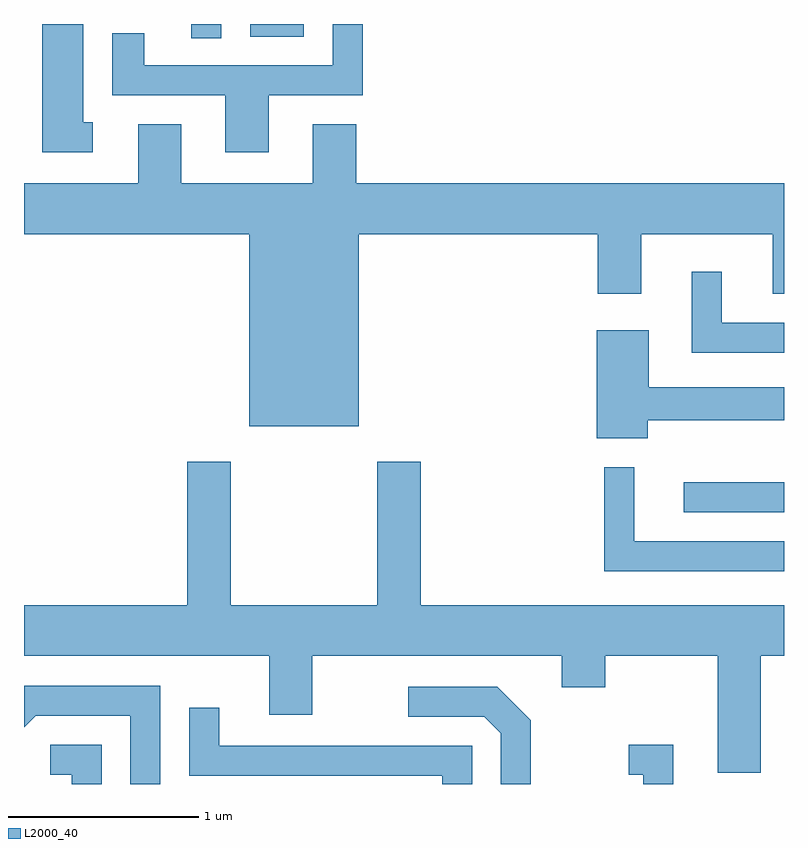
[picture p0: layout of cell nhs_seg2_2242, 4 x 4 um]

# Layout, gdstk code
import gdstk
lib = gdstk.Library(unit=1e-6, precision=1e-09)
def R(c, l, rs):  # rectangles x0, y0, x1, y1
    for r in rs: c.add(gdstk.rectangle(r[:2], r[2:], *l))
def P(c, l, *ps):  # polygons
    for p in ps: c.add(gdstk.Polygon(p, *l))
L2000_40 = (2000, 40)

nhs_seg2_2242 = lib.new_cell('nhs_seg2_2242')
R(nhs_seg2_2242, L2000_40, [(253.083,1111.231,253.611,1111.389), (250.491,1113.728,250.649,1113.802), (250.801,1113.736,251.084,1113.802)])
P(nhs_seg2_2242, L2000_40, [(250.899,1113.426),(251.394,1113.426),(251.394,1113.802),(251.236,1113.802),(251.236,1113.584),(250.244,1113.584),(250.244,1113.753),(250.076,1113.753),(250.076,1113.426),(250.671,1113.426),(250.671,1113.126),(250.899,1113.126)],
  [(249.973,1113.284),(249.924,1113.284),(249.924,1113.802),(249.706,1113.802),(249.706,1113.126),(249.973,1113.126)],
  [(251.374,1112.696),(252.631,1112.696),(252.631,1112.381),(252.859,1112.381),(252.859,1112.696),(253.551,1112.696),(253.551,1112.381),(253.611,1112.381),(253.611,1112.964),(251.359,1112.964),(251.359,1113.274),(251.131,1113.274),(251.131,1112.964),(250.439,1112.964),(250.439,1113.274),(250.211,1113.274),(250.211,1112.964),(249.611,1112.964),(249.611,1112.696),(250.796,1112.696),(250.796,1111.686),(251.374,1111.686)],
  [(253.611,1112.229),(253.284,1112.229),(253.284,1112.498),(253.126,1112.498),(253.126,1112.071),(253.611,1112.071)],
  [(252.894,1111.716),(253.611,1111.716),(253.611,1111.889),(252.899,1111.889),(252.899,1112.189),(252.626,1112.189),(252.626,1111.621),(252.894,1111.621)],
  [(253.611,1111.079),(252.824,1111.079),(252.824,1111.468),(252.666,1111.468),(252.666,1110.921),(253.611,1110.921)],
  [(251.699,1111.499),(251.471,1111.499),(251.471,1110.744),(250.699,1110.744),(250.699,1111.499),(250.471,1111.499),(250.471,1110.744),(249.611,1110.744),(249.611,1110.476),(250.901,1110.476),(250.901,1110.166),(251.129,1110.166),(251.129,1110.476),(252.441,1110.476),(252.441,1110.311),(252.669,1110.311),(252.669,1110.476),(253.261,1110.476),(253.261,1109.861),(253.489,1109.861),(253.489,1110.476),(253.611,1110.476),(253.611,1110.744),(251.699,1110.744)],
  [(250.329,1110.319),(249.611,1110.319),(249.611,1110.1),(249.672,1110.161),(250.171,1110.161),(250.171,1109.802),(250.329,1109.802)],
  [(252.279,1110.137),(252.102,1110.314),(251.633,1110.314),(251.633,1110.156),(252.034,1110.156),(252.121,1110.069),(252.121,1109.802),(252.279,1109.802)],
  [(251.969,1110.004),(250.639,1110.004),(250.639,1110.203),(250.481,1110.203),(250.481,1109.846),(251.811,1109.846),(251.811,1109.802),(251.969,1109.802)],
  [(253.029,1110.009),(252.793,1110.009),(252.793,1109.851),(252.871,1109.851),(252.871,1109.802),(253.029,1109.802)],
  [(250.019,1110.009),(249.748,1110.009),(249.748,1109.851),(249.861,1109.851),(249.861,1109.802),(250.019,1109.802)])

lib.write_gds('nhs_seg2_2242.gds')
